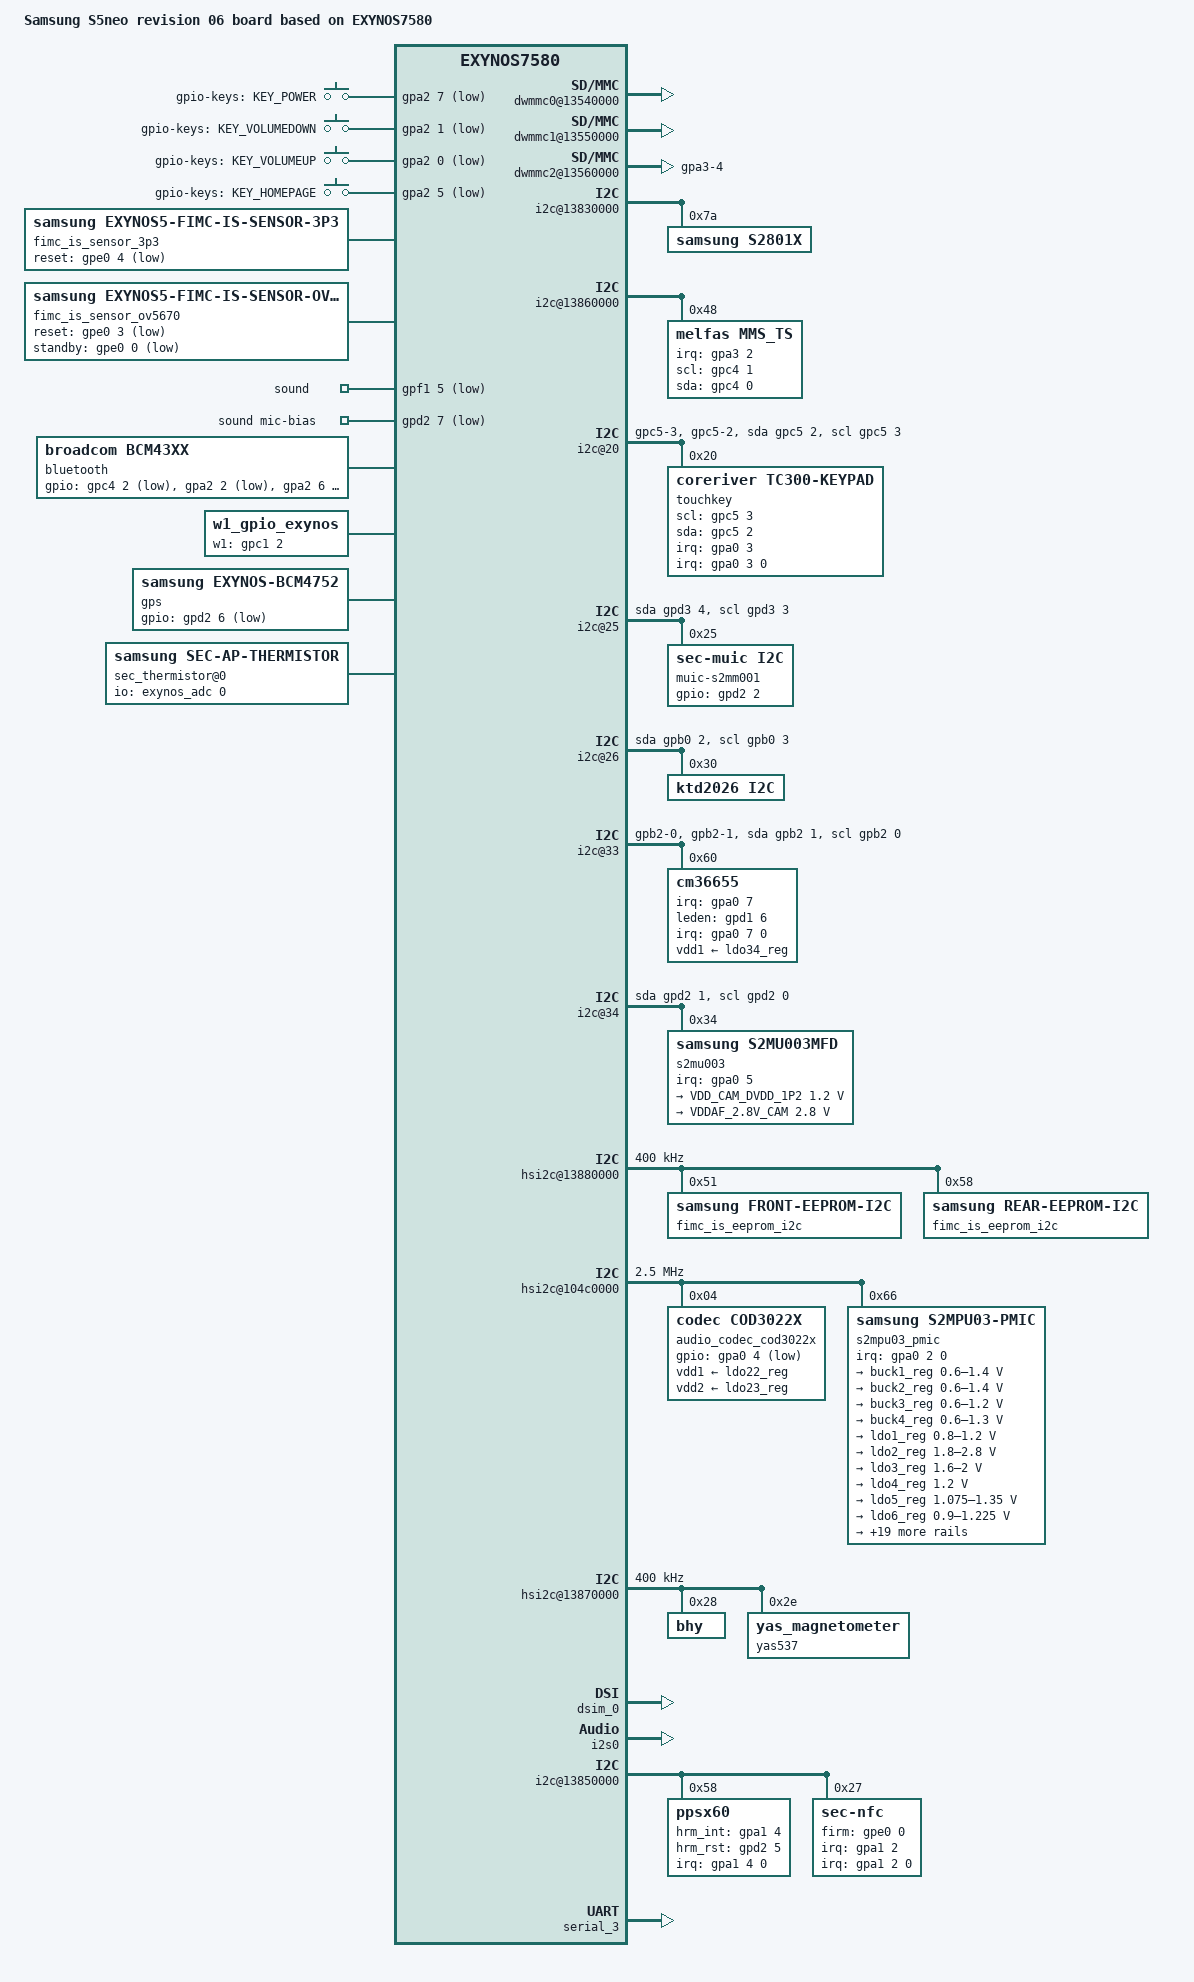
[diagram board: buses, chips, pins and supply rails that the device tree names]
/*
 * SAMSUNG S5neo board device tree source
 *
 * Copyright (c) 2014 Samsung Electronics Co., Ltd.
 *		http://www.samsung.com
 *
 * This program is free software; you can redistribute it and/or modify
 * it under the terms of the GNU General Public License version 2 as
 * published by the Free Software Foundation.
 */

/dts-v1/;
#include "exynos7580-reserve-2000MB.dtsi"
#include "exynos7580.dtsi"
#include "modem-carmen2-pdata.dtsi"
#include "exynos7580-carmen2_battery_rev01.dtsi"
#include "exynos7580-carmen2_gpio_04.dtsi"

/ {
	model = "Samsung S5neo revision 06 board based on EXYNOS7580";
	model_info-chip = <7580>;
	model_info-platform = "android";
	model_info-subtype = "samsung";
	model_info-hw_rev = <6>;
	model_info-hw_rev_end = <6>;
	compatible = "samsung,exynos7580-universal7580,r01", "samsung,exynos7580";

	chosen {
		bootargs = "console=ttySAC1,115200n8 ess_setup=0x46000000 pmic_info=0x02";
		linux,initrd-start = <0x42000000>;
		linux,initrd-end = <0x421FFFFF>;
	};

	fixed-rate-clocks {
		oscclk {
			compatible = "samsung,exynos7580-oscclk";
			clock-frequency = <26000000>;
		};
	};

	dwmmc0@13540000 {
		status = "okay";
		num-slots = <1>;
		broken-cd;
		use-smu;
		fixed_volt;
		clock-gate;
		enable-cclk-on-suspend;
		only_once_tune;
		use-fine-tuning;
		ignore-phase = <(1 << 7)>;
		bypass-for-allpass;
		supports-highspeed;
		supports-hs200-mode;
		supports-ddr200-enhanced-strobe;
		supports-poweroff-notification;
		supports-ddr200-mode;
		enable-cache-control;
		use-enable-shift;
		enable-ulp-mode;
		desc-size = <4>;
		qos_int_level = <200000>;
		fifo-depth = <0x40>;
		card-detect-delay = <0>;
		data-timeout = <200>;
		samsung,dw-mshc-ciu-div = <3>;
		samsung,dw-mshc-sdr-timing = <3 0 2 0>;
		samsung,dw-mshc-ddr-timing = <3 0 2 2>;
		samsung,dw-mshc-hs200-timing = <3 0 3 0>;
		samsung,dw-mshc-ddr200-timing = <1 0 2 0>;
		samsung,dw-mshc-ddr200-ulp-timing = <3 0 3 0>;
		samsung,dw-mshc-ddr200-delay-line = <0x28>;
		samsung,dw-mshc-ddr200-tx-delay-line = <0x28>;
		samsung,dw-mshc-txdt-crc-timer-fastlimit = <0x34>;
		samsung,dw-mshc-txdt-crc-timer-initval = <0x38>;
		clk_pin = "gpr0-0";
		clk_addr = "13750000.pinctrl";
		clk_val = <0x2>;
		clk_str_num = <4>;
		num-ref-clks = <10>;
		ciu_clkin = <25 50 50 100 200 100 200 400 400 200>;
		pinctrl-names = "default";
		pinctrl-0 = <&sd0_clk &sd0_cmd &sd0_rdqs &sd0_bus1 &sd0_bus4 &sd0_bus8>;
		slot@0 {
			reg = <0>;
			bus-width = <8>;
		};
	};

	dwmmc1@13550000 {
		status = "okay";
		num-slots = <1>;
		channel = <1>;
		fixed_volt;
		clock-gate;
		enable-cclk-on-suspend;
		/* broken-cd; */
		caps-control;
		supports-highspeed;
		supports-sdr104-mode;
		keep-power-in-suspend;
		pm-ignore-notify;
		cd-type-external;
		use-broken-voltage;
		use-fine-tuning;
		ignore-phase = <(1 << 7)>;
		fifo-depth = <0x40>;
		card-detect-delay = <200>;
		qos_int_level = <468000>;
		samsung,dw-mshc-ciu-div = <3>;
		samsung,dw-mshc-sdr-timing = <3 0 2 1>;
		samsung,dw-mshc-ddr-timing = <3 0 2 1>;
		clk_pin = "gpr2-0";
		clk_addr = "13750000.pinctrl";
		clk_val = <0x2>;
		clk_str_num = <4>;
		num-ref-clks = <8>;
		ciu_clkin = <25 50 50 100 200 100 200 400>;
		pinctrl-names = "default";
		pinctrl-0 = <&sd1_clk &sd1_cmd &sd1_bus1 &sd1_bus4>;
		slot@0 {
			reg = <0>;
			bus-width = <4>;
		};
	};

	dwmmc2@13560000 {
		status = "okay";
		num-slots = <1>;
		supports-highspeed;
		enable-cclk-on-suspend;
		supports-sdr104-mode;
		bypass-smu;
		use-fine-tuning;
		clock-gate;
		fifo-depth = <0x40>;
		card-detect-delay = <200>;
		data-timeout = <200>;
		ignore-phase = <(1 << 7)>;
		bypass-for-allpass;
		desc-size = <4>;
		samsung,dw-mshc-ciu-div = <3>;
		samsung,dw-mshc-sdr-timing = <3 0 2 0>;
		samsung,dw-mshc-ddr-timing = <3 0 2 1>;
		clk_pin = "gpr4-0";
		clk_addr = "13750000.pinctrl";
		clk_val = <0x2>;
		clk_str_num = <4>;
		num-ref-clks = <8>;
		ciu_clkin = <25 50 50 100 200 100 200 400>;
		pinctrl-names = "default", "output";
		pinctrl-0 = <&sd2_clk &sd2_cmd &sd2_bus1 &sd2_bus4 &dwmmc2_cd_ext_irq>;
		pinctrl-1 = <&sd2_clk_output &sd2_cmd_output &sd2_bus1 &sd2_bus4 &dwmmc2_cd_ext_irq>;
		cd-type-gpio;
		gpio-controller;
		sec-sd-slot-type = <1>; /* Normal SD slot */
		#gpio-cells = <2>;
		cd-gpio = <&gpa3 4 0xf>;
		slot@0 {
			reg = <0>;
			bus-width = <4>;
			disable-wp;
		};
	};

	gpio_keys{
		compatible = "gpio-keys";
		pinctrl-names = "default";
		pinctrl-0 = <&gpa2_pull_up_univ>;

		button@1 {
			label = "gpio-keys: KEY_POWER";
			interrupt-parent = <&gpa2>;
			linux,code = <116>;
			gpios = <&gpa2 7 0xf>;
			gpio-key,wakeup = <1>;
		};
		button@2 {
			label = "gpio-keys: KEY_VOLUMEDOWN";
			interrupt-parent = <&gpa2>;
			linux,code = <114>;
			gpios = <&gpa2 1 0xf>;
		};
		button@3 {
			label = "gpio-keys: KEY_VOLUMEUP";
			interrupt-parent = <&gpa2>;
			linux,code = <115>;
			gpios = <&gpa2 0 0xf>;
		};
		button@4 {
			label = "gpio-keys: KEY_HOMEPAGE";
			interrupt-parent = <&gpa2>;
			linux,code = <172>;
			gpios = <&gpa2 5 0xf>;
			gpio-key,wakeup = <1>;
		};
	};

	pinctrl@139B0000 {
		pmic_irq: pmic-irq {
			samsung,pins = "gpa0-2";
			samsung,pin-pud = <3>;
			samsung,pin-drv = <3>;
		};
		cfg_irq: cfg-irq {
			samsung,pins = "gpa0-3";
			samsung,pin-function = <0xf>;
			samsung,pin-pud = <0>;
			samsung,pin-drv = <0>;
		};
		cfg_input: cfg-input {
			samsung,pins = "gpa0-3";
			samsung,pin-function = <0>;
			samsung,pin-pud = <1>;
			samsung,pin-drv = <0>;
		};
		cod3022_irq: cod3022-irq {
			samsung,pins = "gpa0-4";
			samsung,pin-pud = <3>;
			samsung,pin-drv = <3>;
		};
		if_irq: if-irq {
			samsung,pins = "gpa0-5";
			samsung,pin-pud = <3>;
			samsung,pin-drv = <3>;
		};
		muic_irq: muic-irq {
			samsung,pins = "gpa1-3";
			samsung,pin-pud = <0>;
			samsung,pin-drv = <0>;
		};
		bhy_int: bhy-int {
			samsung,pins = "gpa3-0";
			samsung,pin-function = <0>;
			samsung,pin-pud = <0>;
			samsung,pin-drv = <0>;
		};
		attn_input: attn-input {
			samsung,pins = "gpa3-2";
			samsung,pin-function = <0>;
			samsung,pin-pud = <0>;
			samsung,pin-drv = <0>;
		};
		attn_irq: attn-irq {
			samsung,pins = "gpa3-2";
			samsung,pin-function = <0xf>;
			samsung,pin-pud = <0>;
			samsung,pin-drv = <0>;
		};
		nfc_clk_int: clk-int {
			samsung,pins = "gpa3-3";
                        samsung,pin-function = <0xf>;
                        samsung,pin-pud = <3>;
		};
		dwmmc2_cd_ext_irq: dwmmc2_cd_ext_irq {
			samsung,pins = "gpa3-4";
			samsung,pin-function = <0xf>;
			samsung,pin-pud = <0>;
			samsung,pin-drv = <0>;
		};
		hall_irq: hall_irq {
			samsung,pins = "gpa3-6";
			samsung,pin-function = <0xf>;
			samsung,pin-pud = <0>;
			samsung,pin-drv = <0>;
		};
		ssp_ap_int: ssp-ap-int {
			samsung,pins = "gpa1-0";
			samsung,pin-function = <1>;
			samsung,pin-pud = <3>;
			samsung,pin-drv = <3>;
		};
		ssp_mcu_int1: ssp-mcu-int1 {
			samsung,pins = "gpa1-5";
			samsung,pin-function = <0>;
			samsung,pin-pud = <0>;
			samsung,pin-drv = <0>;
		};
		ssp_mcu_int2: ssp-mcu-int2 {
			samsung,pins = "gpa1-6";
			samsung,pin-function = <0>;
			samsung,pin-pud = <0>;
			samsung,pin-drv = <0>;
		};
	};

	pinctrl@139C0000 {
		hrm_vdd_en: hrm_vdd_en {
			samsung,pins = "gpb2-7";
			samsung,pin-function = <1>;
			samsung,pin-pud = <1>;
			samsung,pin-val = <0>;
		};
		vibetonz_pwm: vibetonz_pwm {
			samsung,pins = "gpc1-1";
			samsung,pin-function = <2>;
			samsung,pin-pud = <0>;
			samsung,pin-drv = <0>;
		};
		w1_gpio: w1-gpio {
			samsung,pins = "gpc1-2";
			samsung,pin-function = <0>;
			samsung,pin-pud = <0>;
			samsung,pin-drv = <0>;
		};
		cfg_i2c: cfg-i2c {
			samsung,pins = "gpc5-3", "gpc5-2";
			samsung,pin-function = <0>;
			samsung,pin-pud = <3>;
			samsung,pin-drv = <0>;
		};
		cfg_gpio: cfg-gpio {
			samsung,pins = "gpc5-3", "gpc5-2";
			samsung,pin-function = <0>;
			samsung,pin-pud = <0>;
			samsung,pin-drv = <0>;
		};
		main_mic_bias_en:main-mic-bias-en {
			samsung,pins ="gpd2-7";
			samsung,pin-function = <1>;
			samsung,pin-pud = <0>;
			samsung,pin-con-pdn = <3>;
			samsung,pin-pud-pdn = <0>;
			samsung,pin-val = <0>;
		};
		/* Warm reset information from AP */
		pm_wrsti: pm-wrsti {
			samsung,pins = "gpe1-0";
			samsung,pin-con-pdn = <3>;
		};
		dbmd_reset: dbmd-reset {
			samsung,pins ="gpf1-6";
			samsung,pin-function = <1>;
			samsung,pin-pud = <1>;
			samsung,pin-con-pdn =<3>;
			samsung,pin-pud-pdn = <1>;
			samsung,pin-val = <0>;
		};
		dbmd_wakeup: dbmd-wakeup {
			samsung,pins ="gpf1-7";
			samsung,pin-function = <1>;
			samsung,pin-pud = <1>;
			samsung,pin-con-pdn =<3>;
			samsung,pin-pud-pdn = <1>;
			samsung,pin-val = <0>;
		};
		ssp_rst: ssp-rst {
			samsung,pins = "gpf1-4";
			samsung,pin-function = <1>;
			samsung,pin-pud = <3>;
			samsung,pin-drv = <3>;
		};
	};

	i2c@13830000 {
		samsung,i2c-sda-delay = <100>;
		samsung,i2c-max-bus-freq = <400000>;
		status = "okay";
		#address-cells = <1>;
		#size-cells = <0>;
		supports-bus-clear;

		s2801x: s2801x@7a {
			compatible = "samsung,s2801x";
			reg = <0x7a>;
			clocks = <&clock 154>,	/* sclk_audmixer */
				 <&clock 155>,	/* sclk_audmixer_bclk0*/
				 <&clock 156>,	/* sclk_audmixer_bclk1 */
				 <&clock 157>,	/* sclk_audmixer_bclk2 */
				 <&clock 152>,	/* bclk_mi2s */
				 <&clock 149>;	/* dout_audmixer*/

			clock-names = "audmixer_sysclk", "audmixer_bclk0",
					"audmixer_bclk1", "audmixer_bclk2",
					"mi2s_bclk", "audmixer_dout";
			sysreg-reset = <0x110F2000>;
			sysreg-i2c = <0x110F3000>;
			pinctrl-names = "default", "idle", "bt-idle";
			pinctrl-0 = <&i2s_pmic_bus
					&i2s2_codec_clk
					&pcm_bt_bus
					&pcm_bt1_bus>;
			pinctrl-1 = <&i2s_pmic_bus_idle
					&i2s2_codec_clk_idle
					&pcm_bt_bus_idle
					&pcm_bt1_bus_idle>;
			pinctrl-2 = <&i2s_pmic_bus
					&i2s2_codec_clk
					&pcm_bt_bus_idle
					&pcm_bt1_bus_idle>;
			samsung,lpass-subip;
		};
	};

	i2c@13860000 {
		samsung,i2c-sda-delay = <100>;
		samsung,i2c-max-bus-freq = <400000>;
		status = "okay";
		#address-cells = <1>;
		#size-cells = <0>;

		mms_ts@48 {
			compatible = "melfas,mms_ts";
			reg = <0x48>;
			pinctrl-names = "on_state", "off_state";
			pinctrl-0 = <&attn_irq>;
			pinctrl-1 = <&attn_input>;
			melfas,vdd_en = "tsp_avdd";
			melfas,irq-gpio = <&gpa3 2 0>;
			melfas,scl-gpio = <&gpc4 1 0>;
			melfas,sda-gpio = <&gpc4 0 0>;
			melfas,max_x = <1080>;
			melfas,max_y = <1920>;
			melfas,fw_name = "tsp_melfas/mms449_s5neo.fw";
		};
	};

	pinctrl@139B0000{
		ps_als: ps_als {
			samsung,pins = "gpa0-7";
			samsung,pin-function = <0x0>;
			samsung,pin-pud = <0>;
			samsung,pin-drv = <0>;
		};
	};

	pinctrl@139C0000{
		optical: optical {
			samsung,pins = "gpb2-0", "gpb2-1";
			samsung,pin-function = <0>;
			samsung,pin-pud = <0>;
			samsung,pin-drv = <0>;
		};
	};

	i2c@20 {
		compatible = "i2c-gpio";
		gpios = <&gpc5 2 0
				&gpc5 3 0>;
		i2c-gpio,delay-us = <5>;
		pinctrl-names = "default","on_i2c","off_i2c";
		pinctrl-0 = <&cfg_i2c>;
		pinctrl-1 = <&cfg_i2c>;
		pinctrl-2 = <&cfg_gpio>;
		#address-cells = <1>;
		#size-cells = <0>;
		status = "okay";

		touchkey@20 {
			pinctrl-names = "on_irq","off_irq";
			pinctrl-0 = <&cfg_irq>;
			pinctrl-1 = <&cfg_input>;
			compatible = "coreriver,tc300-keypad";
			reg = <0x20>;
			interrupts = <3 0 0>;
			interrupt-parent = <&gpa0>;
			coreriver,scl-gpio = <&gpc5 3 0>;
			coreriver,sda-gpio = <&gpc5 2 0>;
			coreriver,irq-gpio = <&gpa0 3 0>;
			coreriver,i2c-gpio = "true";
			coreriver,boot-on-ldo = "true";
			coreriver,regulator_ic = "vtouch_1.8v";
			coreriver,regulator_led = "vtouch_3.3v";
			coreriver,fw_name = "coreriver/tc350k_s5neo.fw";
			coreriver,sensing_ch_num = <0x4>;
			coreriver,tsk_ic_num = <0x1>; /* tc300k : 0x00, tc350k : 0x01 */
			coreriver,use_bitmap = <1>;
		};
	};

	i2c@25 {
		compatible = "i2c-gpio";
		gpios = <&gpd3 4 0
			&gpd3 3 0>;
		i2c-gpio,delay-us = <5>;
		#address-cells = <1>;
		#size-cells = <0>;
		status = "okay";

		muic-s2mm001@25 {
			compatible = "sec-muic,i2c";
			reg = <0x25>;
			pinctrl-names = "default";
			pinctrl-0 = <&muic_irq>;
			muic,muic_int = <&gpa1 3 0>;
			gpios = <&gpd2 2 0>;
			muic,undefined_range;
		};
	};

	i2c@26 {
		compatible = "i2c-gpio";
		gpios = <&gpb0 2 0
			&gpb0 3 0>;
		i2c-gpio,delay-us = <5>;
		#address-cells = <1>;
		#size-cells = <0>;
		status = "okay";

		ktd2026@26 {
			compatible = "ktd2026,i2c";
			reg = <0x30>;
			pinctrl-names = "default";

			led_conf@1 {
				led_conf-name = "led_r";
				brightness = <0>;
				max_brightness = /bits/ 8 <0x20>;
				flags = <0>;
			};
			led_conf@2 {
				led_conf-name = "led_g";
				brightness = <0>;
				max_brightness = /bits/ 8 <0x20>;
				flags = <0>;
			};
			led_conf@3 {
				led_conf-name = "led_b";
				brightness = <0>;
				max_brightness = /bits/ 8 <0x20>;
				flags = <0>;
			};
		};
	};

	i2c@33 {
		compatible = "i2c-gpio";
		gpios = <&gpb2 1 0	/* scl */
			&gpb2 0 0>;	/* sda */

		pinctrl-names = "default";
		pinctrl-0 = <&optical>;
		samsung,i2c-sda-delay = <100>;
		samsung,i2c-max-bus-freq = <400000>;
		#address-cells = <1>;
		#size-cells = <0>;
		status = "okay";

		cm36655@60 {
			compatible = "cm36655";
			reg = <0x60>;
			pinctrl-names = "dafault";
			pinctrl-0 = <&ps_als &leden_gpio>;
			vdd1-supply = <&ldo34_reg>;
			interrupt-parent = <&gpa0>;
			interrupts = <7 0 0>;
			cm36655,irq_gpio = <&gpa0 7 0x00>;
			cm36655,leden_gpio =  <&gpd1 6 0>;
			cm36655,default_hi_thd = <17>;
			cm36655,default_low_thd = <13>;
			cm36655,cancel_hi_thd = <10>;
			cm36655,cancel_low_thd = <7>;
			cm36655,cal_skip_adc=<8>;
			cm36655,cal_fail_adc=<18>;
			cm36655,als_reg_set=<0x0000>;
			cm36655,ps_conf1=<0x7308>;
			cm36655,default_trim = <0x0003>;
		};
	};

	i2c@34 {
		compatible = "i2c-gpio";
		gpios = <&gpd2 1 0
			&gpd2 0 0>;
		i2c-gpio,delay-us = <5>;
		#address-cells = <1>;
		#size-cells = <0>;
		status = "okay";

		s2mu003@34 {
			compatible = "samsung,s2mu003mfd";
			reg = <0x34>;
			pinctrl-names = "default";
			pinctrl-0 = <&if_irq>;
			s2mu003,irq-gpio = <&gpa0 5 0>;

			regulators {
				s2mu003-buck1 {
					regulator-name = "VDD_CAM_DVDD_1P2";
					regulator-min-microvolt = <1200000>;
					regulator-max-microvolt = <1200000>;
				};
				s2mu003-ldo1 {
					regulator-name = "VDDAF_2.8V_CAM";
					regulator-min-microvolt = <2800000>;
					regulator-max-microvolt = <2800000>;
				};
			};

			leds {
				torch-gpio = <&gpe0 1 0>;
				flash-gpio = <&gpe0 2 0>;

				status = "okay";
				s2mu003-leds1 {
					ledname = "leds-sec1";
					id = <0>;
					brightness = <0x17>;
					timeout = <0x0>;
					max-brightness = <0x15>;
				};

				s2mu003-leds2 {
					ledname = "leds-sec2";
					id = <1>;
					brightness = <0x02>;
					timeout = <0x0>;
					max-brightness = <0xf>;
				};
			};
		};
	};
	hsi2c@13880000 {
		status = "okay";
		clock-frequency = <400000>;
		fimc_is_eeprom_i2c@51{
			compatible = "samsung,front-eeprom-i2c";
			reg = <0x51>;
			use_i2c_pinctrl;
			fimc_is_front_eeprom_pinname = "139C0000.pinctrl";
			fimc_is_front_eeprom_sda = "gpc2-2";
			fimc_is_front_eeprom_scl = "gpc2-3";
			pinfunc_on = <4>;
			pinfunc_off = <0>;
		};
		fimc_is_eeprom_i2c@58 {
			compatible = "samsung,rear-eeprom-i2c";
			reg = <0x58>;
			use_i2c_pinctrl;
			fimc_is_rear_eeprom_pinname = "139C0000.pinctrl";
			fimc_is_rear_eeprom_sda = "gpc2-2";
			fimc_is_rear_eeprom_scl = "gpc2-3";
			pinfunc_on = <4>;
			pinfunc_off = <0>;
		};
	};

	hsi2c@104c0000 {
		status = "okay";
		samsung,hs-mode;
		clock-frequency = <2500000>;
		samsung,hsi2c-batcher;
		#address-cells = <1>;
		#size-cells = <0>;

		audio_codec_cod3022x: cod3022x@04 {
			compatible = "codec,cod3022x";
			reg = <0x04>;
			ten-bit-address;
			vdd1-supply = <&ldo22_reg>;
			vdd2-supply = <&ldo23_reg>;
			pinctrl-names = "default";
			pinctrl-0 = <&cod3022_irq>;
			interrupt-parent = <&gpa0>;
			gpios = <&gpa0 4 0xf>;
			/* Mic Bias: 0->2.1v, 1->2.5v, 2->2.6v, 3->3.0v */
			mic-bias1-voltage = <3>;
			mic-bias2-voltage = <3>;
		};

		s2mpu03_pmic@66 {
			compatible = "samsung,s2mpu03-pmic";
			reg = <0x66>;
			ten-bit-address;
			interrupts = <2 0 0>;
			interrupt-parent = <&gpa0>;
			pinctrl-names = "default";
			pinctrl-0 = <&pmic_irq &pm_wrsti>;
			g3d_en = <1>; /* 1 : enable , 0 : disable */
			/*
			buck4en_pin = "etc1-3";
			buck4en_addr = "1111111.pinctrl";
			*/
			/* RTC: wtsr/smpl */
			wtsr_en = <1>; /* enable */
			smpl_en = <1>; /* enable */
			wtsr_timer_val = <3>;   /* 1000ms */
			smpl_timer_val = <4>;   /* 500ms */
			check_jigon = <0>; /* do not check jigon */
			/* RTC: If it's first boot, reset rtc to 1/1/2015 12:00:00(Thu) */
			init_time,sec = <0>;
			init_time,min = <0>;
			init_time,hour = <12>;
			init_time,mday = <1>;
			init_time,mon = <0>;
			init_time,year = <115>;
			init_time,wday = <4>;

			regulators {
				buck1_reg: BUCK1 {
					regulator-name = "cpu-cluster.1";
					regulator-min-microvolt = <600000>;
					regulator-max-microvolt = <1400000>;
					regulator-always-on;
					regulator-boot-on;
					regulator-ramp-delay = <12000>;
					regulator-initial-mode = <1>;
				};

				buck2_reg: BUCK2 {
					regulator-name = "cpu-cluster.0";
					regulator-min-microvolt = <600000>;
					regulator-max-microvolt = <1400000>;
					regulator-always-on;
					regulator-boot-on;
					regulator-ramp-delay = <12000>;
					regulator-initial-mode = <1>;
				};

				buck3_reg: BUCK3 {
					regulator-name = "vdd_intmif";
					regulator-min-microvolt = <600000>;
					regulator-max-microvolt = <1200000>;
					regulator-always-on;
					regulator-boot-on;
					regulator-ramp-delay = <12000>;
					regulator-initial-mode = <1>;
				};

				buck4_reg: BUCK4 {
					regulator-name = "vdd_g3d";
					regulator-min-microvolt = <600000>;
					regulator-max-microvolt = <1300000>;
					regulator-always-on;
					regulator-boot-on;
					regulator-ramp-delay = <12000>;
					regulator-initial-mode = <1>;
				};

				ldo1_reg: LDO1 {
					regulator-name = "vdd_ldo1";
					regulator-min-microvolt = <800000>;
					regulator-max-microvolt = <1200000>;
					regulator-always-on;
					regulator-ramp-delay = <12000>;
					regulator-initial-mode = <3>;
				};

				ldo2_reg: LDO2 {
					regulator-name = "vqmmc";
					regulator-min-microvolt = <1800000>;
					regulator-max-microvolt = <2800000>;
					regulator-boot-on;
					regulator-ramp-delay = <12000>;
					regulator-initial-mode = <1>;
				};

				ldo3_reg: LDO3 {
					regulator-name = "vdd_ldo3";
					regulator-min-microvolt = <1600000>;
					regulator-max-microvolt = <2000000>;
					regulator-boot-on;
					regulator-always-on;
					regulator-ramp-delay = <12000>;
					regulator-initial-mode = <3>;
				};

				ldo4_reg: LDO4 {
					regulator-name = "vdd_ldo4";
					regulator-min-microvolt = <1200000>;
					regulator-max-microvolt = <1200000>;
					regulator-boot-on;
					regulator-always-on;
					regulator-ramp-delay = <12000>;
					regulator-initial-mode = <1>;
				};

				ldo5_reg: LDO5 {
					regulator-name = "vdd_ldo5";
					regulator-min-microvolt = <1075000>;
					regulator-max-microvolt = <1350000>;
					regulator-boot-on;
					regulator-always-on;
					regulator-ramp-delay = <12000>;
					regulator-initial-mode = <3>;
				};

				ldo6_reg: LDO6 {
					regulator-name = "vdd_ldo6";
					regulator-min-microvolt = <900000>;
					regulator-max-microvolt = <1225000>;
					regulator-boot-on;
					regulator-always-on;
					regulator-ramp-delay = <12000>;
					regulator-initial-mode = <1>;
				};

				ldo7_reg: LDO7 {
					regulator-name = "vdd_ldo7";
					regulator-min-microvolt = <1600000>;
					regulator-max-microvolt = <2000000>;
					regulator-boot-on;
					regulator-always-on;
					regulator-initial-mode = <1>;
				};

				ldo8_reg: LDO8 {
					regulator-name = "vdd_ldo8";
					regulator-min-microvolt = <3300000>;
					regulator-max-microvolt = <3300000>;
					regulator-boot-on;
					regulator-always-on;
					regulator-initial-mode = <1>;
				};

				ldo10_reg: LDO10 {
					regulator-name = "vdd_ldo10";
					regulator-min-microvolt = <800000>;
					regulator-max-microvolt = <1350000>;
					regulator-always-on;
					regulator-initial-mode = <1>;
				};

				ldo22_reg: LDO22 {
					regulator-name = "codec_ldo22";
					regulator-min-microvolt = <1000000>;
					regulator-max-microvolt = <2375000>;
					regulator-initial-mode = <3>;
				};

				ldo23_reg: LDO23 {
					regulator-name = "codec_ldo23";
					regulator-min-microvolt = <1000000>;
					regulator-max-microvolt = <2375000>;
					regulator-initial-mode = <3>;
				};

				ldo26_reg: LDO26 {
					regulator-name = "vmmc";
					regulator-min-microvolt = <2800000>;
					regulator-max-microvolt = <2800000>;
					regulator-boot-on;
					regulator-initial-mode = <1>;
				};

				ldo27_reg: LDO27 {
					regulator-name = "VDDIO_1.8V_CAM";
					regulator-min-microvolt = <1800000>;
					regulator-max-microvolt = <1800000>;
					regulator-initial-mode = <1>;
				};

				ldo28_reg: LDO28 {
					regulator-name = "vtouch_1.8v";
					regulator-min-microvolt = <1800000>;
					regulator-max-microvolt = <1800000>;
					regulator-boot-on;
				};

				ldo29_reg: LDO29 {
					regulator-name = "VDD_VTCAM_SENSOR_A2P8";
					regulator-min-microvolt = <2800000>;
					regulator-max-microvolt = <2800000>;
					regulator-initial-mode = <1>;
				};

				ldo30_reg: LDO30 {
					regulator-name = "LCD_3P0";
					regulator-min-microvolt = <3000000>;
					regulator-max-microvolt = <3000000>;
					regulator-boot-on;
					regulator-initial-mode = <3>;
				};

				ldo31_reg: LDO31 {
					regulator-name = "LCD_1P8";
					regulator-min-microvolt = <1800000>;
					regulator-max-microvolt = <1800000>;
					regulator-boot-on;
					regulator-initial-mode = <3>;
				};

				ldo32_reg: LDO32 {
					regulator-name = "VDDIO_1.8V_VT";
					regulator-min-microvolt = <1800000>;
					regulator-max-microvolt = <1800000>;
					regulator-initial-mode = <1>;
				};

				ldo33_reg: LDO33 {
					regulator-name = "tsp_avdd";
					regulator-min-microvolt = <3300000>;
					regulator-max-microvolt = <3300000>;
				};

				ldo34_reg: LDO34 {
					regulator-name = "VDD_SENSOR_2P85";
					regulator-min-microvolt = <2850000>;
					regulator-max-microvolt = <2850000>;
					regulator-always-on;
					/* regulator-initial-mode = <1>; */
				};

				ldo35_reg: LDO35 {
					regulator-name = "VDD_CAM_SENSOR_A2P95";
					regulator-min-microvolt = <2950000>;
					regulator-max-microvolt = <2950000>;
					regulator-initial-mode = <1>;
				};

				ldo36_reg: LDO36 {
					regulator-name = "VDD_VTCAM_1P2";
					regulator-min-microvolt = <1200000>;
					regulator-max-microvolt = <1200000>;
					regulator-initial-mode = <1>;
				};

				ldo37_reg: LDO37 {
					regulator-name = "vtouch_3.3v";
					regulator-min-microvolt = <3300000>;
					regulator-max-microvolt = <3300000>;
					regulator-boot-on;
				};

				ldo38_reg: LDO38 {
					regulator-name = "ldo38";
					regulator-min-microvolt = <2800000>;
					regulator-max-microvolt = <2800000>;
					regulator-always-on;
					regulator-initial-mode = <1>;
				};

				ldo39_reg: LDO39 {
					regulator-name = "ldo39";
					regulator-min-microvolt = <1800000>;
					regulator-max-microvolt = <1800000>;
					regulator-initial-mode = <3>;
				};
			};
		};
	};

	fimc_is_sensor_3p3: fimc-is_sensor_3p3@0 {
		compatible = "samsung,exynos5-fimc-is-sensor-3p3";

		pinctrl-names = "pin0", "pin1";
		pinctrl-0 = <&fimc_is_mclk0_fn &fimc_is_i2c0 &fimc_is_flash>; /* rear on */
		pinctrl-1 = <&fimc_is_mclk0_in &fimc_is_i2c0 &fimc_is_flash>; /* rear off */

		position = <0>; /* Rear:0. Front:1 */
		id = <0>; /* bns_id */
		mclk_ch = <0>;
		sensor_i2c_ch = <0>; /* I2C 0 */
		sensor_i2c_addr = <0x0>;

		gpio_reset = <&gpe0 4 0x1>; /* sensor reset */
		status = "okay";

		af {
			product_name = <13>; /* DW9807 */
			i2c_addr = <0x18>;
			i2c_ch = <0>; /* I2C 0 */
		};

		flash {
			product_name = <11>; /* GPIO */
			flash_first_gpio = <2>;
			flash_second_gpio = <1>;
		};
	};

	fimc_is_sensor_ov5670: fimc-is_sensor_ov5670@0 {
		compatible = "samsung,exynos5-fimc-is-sensor-ov5670";

		pinctrl-names = "pin0", "pin1";
		pinctrl-0 = <&fimc_is_mclk1_fn &fimc_is_i2c1>; /* front on */
		pinctrl-1 = <&fimc_is_mclk1_in &fimc_is_i2c1>; /* front off */

		position = <1>; /* Rear:0. Front:1 */
		id = <1>; /* bns_id */
		mclk_ch = <1>;
		sensor_i2c_ch = <1>;
		sensor_i2c_addr = <0x0>;

		gpio_reset = <&gpe0 3 0x1>;
		gpio_standby = <&gpe0 0 0x1>;
		status = "okay";
	};


	fimc_is_sensor0: fimc_is_sensor@144a0000 {
		scenario = <0>;
		id = <0>;
		mclk_ch = <0>;
		csi_ch = <0>;
		flite_ch = <0>;
		i2c_ch = <0>;
		i2c_addr = <0x0>;
		is_bns = <1>;
		status = "okay";
	};

	fimc_is_sensor1: fimc_is_sensor@144b0000 {
		scenario = <0>;
		id = <1>;
		mclk_ch = <1>;
		csi_ch = <1>;
		flite_ch = <1>;
		i2c_ch = <1>;
		i2c_addr = <0x0>;
		is_bns = <0>;
		status = "okay";
	};

	fimc_is@14400000 {
		rear_sensor_id = <23>; /* SENSOR_NAME_S5K3P3 */
		front_sensor_id = <204>; /* SENSOR_NAME_OV5670 */
		use_module_check;

		total_camera_num = <2>;
		camera_info0 {				// 0 : rear
			isp = <0>;				/* 0 : INT , 1 : EXT , 2 : SOC */
			cal_memory = <2>;		/* 0 : N , 1 : FROM , 2 : EEPROM , 3 : OTP  */
			read_version = <0>;		/* 0 : SYSFS , 1 : CAMON */
			core_voltage = <0>;		/* 0 : N , 1 : Y  */
			upgrade = <0>;			/* 0 : N , 1 : SYSFS , 2 : CAMON */
			companion = <0>;	/* 0 : N , 1 : Y  */
			ois = <0>;				/* 0 : N , 1 : Y  */
		};
		camera_info1 {				// 1 : front
			isp = <0>;				/* 0 : INT , 1 : EXT , 2 : SOC */
			cal_memory = <2>;		/* 0 : N , 1 : FROM , 2 : EEPROM , 3 : OTP  */
			read_version = <0>;		/* 0 : SYSFS , 1 : CAMON */
			core_voltage = <0>;		/* 0 : N , 1 : Y  */
			upgrade = <0>;			/* 0 : N , 1 : SYSFS , 2 : CAMON */
			companion = <0>;	/* 0 : N , 1 : Y  */
			ois = <0>;				/* 0 : N , 1 : Y  */
		};

		#define DVFS_INT_L0 400000
		#define DVFS_INT_L1 334000
		#define DVFS_INT_L2 267000
		#define DVFS_INT_L3 200000
		#define DVFS_INT_L4 160000
		#define DVFS_INT_L5 134000
		#define DVFS_INT_L6 111000
		#define DVFS_INT_L7 100000

		#define DVFS_CAM_L0 530000
		#define DVFS_CAM_L1 430000
		#define DVFS_CAM_L2 400000
		#define DVFS_CAM_L3 334000
		#define DVFS_CAM_L4 267000
		#define DVFS_CAM_L5 200000

		#define DVFS_MIF_L0 825000
		#define DVFS_MIF_L1 728000
		#define DVFS_MIF_L2 667000
		#define DVFS_MIF_L3 559000
		#define DVFS_MIF_L4 416000
		#define DVFS_MIF_L5 338000
		#define DVFS_MIF_L6 273000
		#define DVFS_MIF_L7 200000

		fimc_is_dvfs {
			default_int = <DVFS_INT_L0>;
			default_cam = <DVFS_CAM_L0>;
			default_mif = <DVFS_MIF_L0>;
			default_i2c = <0>;

			front_preview_int = <DVFS_INT_L3>;
			front_preview_cam = <DVFS_CAM_L4>;
			front_preview_mif = <DVFS_MIF_L3>;
			front_preview_i2c = <0>;

			front_capture_int = <DVFS_INT_L3>;
			front_capture_cam = <DVFS_CAM_L4>;
			front_capture_mif = <DVFS_MIF_L3>;
			front_capture_i2c = <0>;

			front_video_int = <DVFS_INT_L3>;
			front_video_cam = <DVFS_CAM_L4>;
			front_video_mif = <DVFS_MIF_L3>;
			front_video_i2c = <0>;

			front_video_whd_int = <DVFS_INT_L0>;
			front_video_whd_cam = <DVFS_CAM_L0>;
			front_video_whd_mif = <DVFS_MIF_L0>;
			front_video_whd_i2c = <0>;

			front_video_capture_int = <DVFS_INT_L3>;
			front_video_capture_cam = <DVFS_CAM_L4>;
			front_video_capture_mif = <DVFS_MIF_L3>;
			front_video_capture_i2c = <0>;

			front_video_whd_capture_int = <DVFS_INT_L0>;
			front_video_whd_capture_cam = <DVFS_CAM_L0>;
			front_video_whd_capture_mif = <DVFS_MIF_L0>;
			front_video_whd_capture_i2c = <0>;

			front_vt1_int = <DVFS_INT_L3>;
			front_vt1_cam = <DVFS_CAM_L4>;
			front_vt1_mif = <DVFS_MIF_L3>;
			front_vt1_i2c = <0>;

			front_vt2_int = <DVFS_INT_L3>;
			front_vt2_cam = <DVFS_CAM_L4>;
			front_vt2_mif = <DVFS_MIF_L3>;
			front_vt2_i2c = <0>;

			rear_preview_fhd_int = <DVFS_INT_L3>;
			rear_preview_fhd_cam = <DVFS_CAM_L0>;
			rear_preview_fhd_mif = <DVFS_MIF_L2>;
			rear_preview_fhd_i2c = <0>;

			rear_preview_whd_int = <DVFS_INT_L0>;
			rear_preview_whd_cam = <DVFS_CAM_L0>;
			rear_preview_whd_mif = <DVFS_MIF_L0>;
			rear_preview_whd_i2c = <0>;

			rear_preview_uhd_int = <DVFS_INT_L0>;
			rear_preview_uhd_cam = <DVFS_CAM_L0>;
			rear_preview_uhd_mif = <DVFS_MIF_L0>;
			rear_preview_uhd_i2c = <0>;

			rear_capture_int = <DVFS_INT_L3>;
			rear_capture_cam = <DVFS_CAM_L0>;
			rear_capture_mif = <DVFS_MIF_L2>;
			rear_capture_i2c = <0>;

			rear_video_fhd_int = <DVFS_INT_L3>;
			rear_video_fhd_cam = <DVFS_CAM_L0>;
			rear_video_fhd_mif = <DVFS_MIF_L2>;
			rear_video_fhd_i2c = <0>;

			rear_video_uhd_int = <DVFS_INT_L0>;
			rear_video_uhd_cam = <DVFS_CAM_L0>;
			rear_video_uhd_mif = <DVFS_MIF_L0>;
			rear_video_uhd_i2c = <0>;

			rear_video_fhd_capture_int = <DVFS_INT_L3>;
			rear_video_fhd_capture_cam = <DVFS_CAM_L0>;
			rear_video_fhd_capture_mif = <DVFS_MIF_L2>;
			rear_video_fhd_capture_i2c = <0>;

			rear_video_uhd_capture_int = <DVFS_INT_L0>;
			rear_video_uhd_capture_cam = <DVFS_CAM_L0>;
			rear_video_uhd_capture_mif = <DVFS_MIF_L0>;
			rear_video_uhd_capture_i2c = <0>;

			dual_preview_int = <DVFS_INT_L0>;
			dual_preview_cam = <DVFS_CAM_L0>;
			dual_preview_mif = <DVFS_MIF_L0>;
			dual_preview_i2c = <0>;

			dual_capture_int = <DVFS_INT_L0>;
			dual_capture_cam = <DVFS_CAM_L0>;
			dual_capture_mif = <DVFS_MIF_L0>;
			dual_capture_i2c = <0>;

			dual_video_int = <DVFS_INT_L0>;
			dual_video_cam = <DVFS_CAM_L0>;
			dual_video_mif = <DVFS_MIF_L0>;
			dual_video_i2c = <0>;

			dual_video_capture_int = <DVFS_INT_L0>;
			dual_video_capture_cam = <DVFS_CAM_L0>;
			dual_video_capture_mif = <DVFS_MIF_L0>;
			dual_video_capture_i2c = <0>;

			preview_high_speed_fps_int = <DVFS_INT_L0>;
			preview_high_speed_fps_cam = <DVFS_CAM_L0>;
			preview_high_speed_fps_mif = <DVFS_MIF_L0>;
			preview_high_speed_fps_i2c = <0>;

			video_high_speed_fps_int = <DVFS_INT_L0>;
			video_high_speed_fps_cam = <DVFS_CAM_L0>;
			video_high_speed_fps_mif = <DVFS_MIF_L0>;
			video_high_speed_fps_i2c = <0>;

			max_int = <DVFS_INT_L0>;
			max_cam = <DVFS_CAM_L0>;
			max_mif = <DVFS_MIF_L0>;
			max_i2c = <0>;
		};
	};

	hsi2c@13870000 {
		status = "okay";
		/*samsung,hs-mode;*/
		clock-frequency = <400000>;
		#address-cells = <1>;
		#size-cells = <0>;

		bhy@28 {
			compatible = "bhy";
			pinctrl-names = "default";
			pinctrl-0 = <&bhy_int>;
			bhy,gpio_irq = <&gpa3 0 0x00>;
			reg = <0x28>;
			/* operational-addr = <0x48>; */
		};

		yas537@2e {
			compatible = "yas_magnetometer";
			reg = <0x2e>;
			yas,orientation = <7>;
			yas,softiron = <10000 0 0 0 10000 0 0 0 10000>;
			yas,softiron_sign = <2 2 0 0 2 0 0 0 2>;
		};
	};

	ion {
		compatible = "samsung,exynos5430-ion";
	};

	decon_fb@14830000 {
		/* XEINT7, GPIO & pin control */
		gpios = <&gpd0 7 0xf>;
		psr_mode = <2>;		/* 0: video mode, 1: DP command mode, 2: MIPI command mode */
		disp-pll-clk = <142000000>;
		gpio_err = <&gpa3 7 0>;
		gpio_pcd = <&gpd2 4 0>;
		status = "okay";
	};

	dsim_0: dsim@14800000 {
		lcd_info = <&ea8064g>;
		decon_board = <&decon_board_list>;
		/* lcd reset, power */
		/* gpios = <&gpd1 3 0x1>, <&gpd1 1 0x1>; */
		/* lcd_vdd = "LCD_3P0"; */
		/* lcd_vdd_2 = "LCD_1P8"; */
		status = "okay";
	};

	decon_board_list: decon_board_list {
		dsim_set_panel_power_enable {
			type = "regulator,enable", "regulator,enable", "gpio,high", "delay,usleep", "pinctrl,turnon_tes";
			gpios = <&gpd1 1 0x1>;
			delay = <10000 11000>;
			regulator = "LCD_3P0", "LCD_1P8";
		};
		dsim_set_panel_power_disable {
			type = "gpio,low", "delay,usleep", "gpio,low", "delay,usleep", "pinctrl,turnoff_tes", "regulator,disable", "delay,usleep", "regulator,disable";
			gpios = <&gpd1 3 0x1>, <&gpd3 1 0x1>;
			delay = <10000 11000>, <5000 6000>, <5000 6000>;
			regulator = "LCD_1P8", "LCD_3P0";
		};
		dsim_reset_panel {
			type = "gpio,high", "delay,usleep", "gpio,low", "delay,usleep", "gpio,high", "delay,usleep";
			gpios = <&gpd1 3 0x1>, <&gpd1 3 0x1>, <&gpd1 3 0x1>;
			delay = <10000 11000>, <10000 11000>, <10000 11000>;
		};
	};

	ea8064g: ea8064g_fhd {
		mode = <2>;
		resolution = <1080 1920>;
		size = <63 112>;
		timing,refresh = <60>;
		timing,h-porch = <1 1 1>;
		timing,v-porch = <12 1 1>;
		timing,dsi-hs-clk = <1024>;
		timing,dsi-escape-clk = <16>;
		mic = <0>;
	};

	i2s0: i2s@11040000 {
		status = "okay";
	};

	audio_cp_dummy: cp_dummy {
		compatible = "samsung,cp_dummy";
		status = "okay";
	};

	audio_bt_dummy: bt_dummy {
		compatible = "samsung,bt_dummy";
		status = "okay";
	};

	audio_fm_dummy: fm_dummy {
		compatible = "samsung,fm_dummy";
		status = "okay";
	};

	audio_codec_dummy: dummy-codec {
		compatible = "samsung,dummy-codec";
		status = "okay";
	};

	sound {
		compatible = "samsung,universal7580-cod3022x";
		samsung,audio-cpu = <&i2s0	/* primary */
					&i2s0	/* secondary */
					&audio_cp_dummy
					&audio_bt_dummy
					&audio_fm_dummy
					&eax
					&eax>;
		samsung,audio-codec = <&audio_codec_cod3022x
					&audio_codec_cod3022x
					&audio_codec_cod3022x
					&audio_codec_dummy
					&audio_codec_cod3022x
					&audio_codec_cod3022x
					&audio_codec_cod3022x>;
		samsung,auxdev = <&s2801x>;
		gpios = <&gpf1 5 0x1>;
		clocks = <&clock 151>;		 /* sclk_i2s */
		clock-names = "codec_bclk";
		mic-bias-mode = <3 1 2>;
		mic-bias-gpios = <&gpd2 7 0x1>;
		pinctrl-names = "default";
		pinctrl-0 = <&main_mic_bias_en>;
		samsung,fm-uses-bt1;
		status = "okay";
	};

	usb_notifier {
		compatible = "samsung,usb-notifier";
	};

	i2c@13850000 {
		status = "okay";
		samsung,i2c-sda-delay = <100>;
		samsung,i2c-max-bus-freq = <300000>;
		ppsx60@58 {
			compatible = "ppsx60";
			pinctrl-names = "default";
			pinctrl-0 = <&hrm_vdd_en &hrm_int &hrm_rst>;
			reg = <0x58>;
			interrupt-parent = <&gpa1>;
			interrupts = <4 0 0>;
			ppsx60,hrm_int-gpio = <&gpa1 4 0>;
			ppsx60,hrm_rst-gpio = <&gpd2 5 0>;
			ppsx60,vdd_3p3_en = <&gpb2 7 0>;
		};
                sec-nfc@27 {
                        compatible = "sec-nfc";
                        reg = <0x27>;

                        interrupts = <2 0 0>;
                        interrupt-parent = <&gpa1>;
                        sec-nfc,nfc_pd = <&gpc3 2 0x2>;
                        sec-nfc,firm-gpio = <&gpe0 0 0>;
                        sec-nfc,irq-gpio = <&gpa1 2 0>;
			clkctrl-reg = <0x1046600C>;
                        sec-nfc,nfc_clkreq = <&gpc3 3 0x2>;
                        sec-nfc,nfc_clkint = <&gpa3 3 0xf>;
			sec-nfc,i2c_1p8 = "ldo39";
                        pinctrl-names = "default";
                        pinctrl-0 = <&nfc_n5_firm &nfc_n5_clk_req &nfc_pd &nfc_int &nfc_clk_int>;
                 };
	};

	serial_3: uart@11060000 {
		/* Enable AUD-UART for Bluetooth */
		pinctrl-0 = <&uart_bt_active &uart_bt_output_sleep &uart_bt_input_sleep>;
		status = "okay";
	};

	bluetooth {
		compatible = "broadcom,bcm43xx";
		gpios = <&gpc4 2 0x1	/*BT_EN*/
				&gpa2 2 0x1	/*BT_WAKE*/
				&gpa2 6 0xF	/*BT_HOST_WAKE*/ >;
		pinctrl-names = "default";
		pinctrl-0=<&bt_hostwake &bt_btwake &bt_en>;
		status = "okay";
	};

	hall {
		compatible = "hall";
		pinctrl-names = "default";
		pinctrl-0 = <&hall_irq>;
		hall,gpio_flip_cover = <&gpa3 6 0x0>;
		status = "okay";
	};

	w1_gpio_exynos {
		compatible = "w1_gpio_exynos";
		pinctrl-names = "default";
		pinctrl-0 = <&w1_gpio>;
		is_open_drain = <1>;
		slave_speed = <1>;
		register_addr = <0x139C0060>;
		register_num = <2>;
		w1,gpio = <&gpc1 2 0>;
	};

	input_booster {
		status = "okay";
		compatible = "input_booster";
		#address-cells = <1>;
		#size-cells = <0>;

		booster_key@1 {
			input_booster,label = "KEY";
			input_booster,type = <0>;	/* BOOSTER_DEVICE_KEY */

			input_booster,levels = <1>;

			/* Frequency table */
			/* for level	:	1_Head */
			input_booster,cpu_freqs = <1200000>;
			input_booster,hmp_boost = <0>;
			input_booster,kfc_freqs = <1200000>;
			input_booster,mif_freqs = <0>;
			input_booster,int_freqs = <0>;

			/* Time table */
			input_booster,head_times = <500>;
			input_booster,tail_times = <500>;
			input_booster,phase_times = <0>;
		};
		booster_key@2 {
			input_booster,label = "TOUCHKEY";
			input_booster,type = <1>;	/* BOOSTER_DEVICE_TOUCHKEY */

			input_booster,levels = <1>;

			/* Frequency table */
			/* for level	:	1_Head */
			input_booster,cpu_freqs = <1200000>;
			input_booster,hmp_boost = <0>;
			input_booster,kfc_freqs = <1200000>;
			input_booster,mif_freqs = <0>;
			input_booster,int_freqs = <0>;

			/* Time table */
			input_booster,head_times = <0>;
			input_booster,tail_times = <200>;
			input_booster,phase_times = <0>;
		};
		booster_key@3 {
			input_booster,label = "TOUCH";
			input_booster,type = <2>;	/* BOOSTER_DEVICE_TOUCH */

			input_booster,levels = <1 2 3>;

			/* Frequency table */
			/* for level	:	1_Head, 2_Head, 2_Tail */
			input_booster,cpu_freqs = <1200000 1200000 1000000>;
			input_booster,hmp_boost = <0 0 0>;
			input_booster,kfc_freqs = <1200000 1200000 1000000>;
			input_booster,mif_freqs = <0 0 0>;
			input_booster,int_freqs = <0 0 0>;

			/* Time table */
			input_booster,head_times = <200 200 0>;
			input_booster,tail_times = <300 300 0>;
			input_booster,phase_times = <0 0 0>;
		};
		booster_key@4 { // Input Booster +
			input_booster,label = "MULTITOUCH";
			input_booster,type = <3>;	/* BOOSTER_DEVICE_MULTITOUCH */

			input_booster,levels = <1 2>;

			/* Frequency table */
			/* for level	:	1_Head 2_Tail*/
			input_booster,cpu_freqs = <1400000 1000000>;
			input_booster,hmp_boost = <0 0>;
			input_booster,kfc_freqs = <1400000 1000000>;
			input_booster,mif_freqs = <0 0>;
			input_booster,int_freqs = <0 0>;

			/* Time table */
			input_booster,head_times = <1000 1000>;
			input_booster,tail_times = <500 500>;
			input_booster,phase_times = <0 0>;
		};
		booster_key@5 {
			input_booster,label = "KEYBOARD";
			input_booster,type = <4>;	/* BOOSTER_DEVICE_KEYBOARD */

			input_booster,levels = <1 2>;

			/* Frequency table */
			/* for level	:	1_Head 2_Tail*/
			input_booster,cpu_freqs = <1200000 1200000>;
			input_booster,hmp_boost = <0 0>;
			input_booster,kfc_freqs = <1200000 1200000>;
			input_booster,mif_freqs = <0 0>;
			input_booster,int_freqs = <0 0>;

			/* Time table */
			input_booster,head_times = <130 130>;
			input_booster,tail_times = <0 0>;
			input_booster,phase_times = <0 0>;
		};
		booster_key@6 {
			input_booster,label = "MOUSE";
			input_booster,type = <5>;	/* BOOSTER_DEVICE_MOUSE */

			input_booster,levels = <1 2>;

			/* Frequency table */
			/* for level	:	1_Head 2_Tail*/
			input_booster,cpu_freqs = <1200000 1000000>;
			input_booster,hmp_boost = <0 0>;
			input_booster,kfc_freqs = <1200000 1000000>;
			input_booster,mif_freqs = <0 0>;
			input_booster,int_freqs = <0 0>;

			/* Time table */
			input_booster,head_times = <130 130>;
			input_booster,tail_times = <500 500>;
			input_booster,phase_times = <0 0>;
		};
		booster_key@7 {
			input_booster,label = "MOUSE WHEEL";
			input_booster,type = <6>;	/* BOOSTER_DEVICE_MOUSE */

			input_booster,levels = <1 2>;

			/* Frequency table */
			/* for level	:	1_Head 2_Tail*/
			input_booster,cpu_freqs = <1200000 0>;
			input_booster,hmp_boost = <0 0>;
			input_booster,kfc_freqs = <1200000 0>;
			input_booster,mif_freqs = <0 0>;
			input_booster,int_freqs = <0 0>;

			/* Time table */
			input_booster,head_times = <130 0>;
			input_booster,tail_times = <0 0>;
			input_booster,phase_times = <0 0>;
		};
		booster_key@8 {
			input_booster,label = "PEN & HOVER";
			input_booster,type = <7>;	/* BOOSTER_DEVICE_PEN & HOVER */

			input_booster,levels = <1 2>;

			/* Frequency table */
			/* for level	:	1_Head 2_Tail*/
			input_booster,cpu_freqs = <1200000 1000000>;
			input_booster,hmp_boost = <0 0>;
			input_booster,kfc_freqs = <1200000 1000000>;
			input_booster,mif_freqs = <0 0>;
			input_booster,int_freqs = <0 0>;

			/* Time table */
			input_booster,head_times = <130 130>;
			input_booster,tail_times = <500 500>;
			input_booster,phase_times = <0 0>;
		};
		booster_key@9 {
			input_booster,label = "GAMEPAD";
			input_booster,type = <8>;	/* BOOSTER_DEVICE_GAMEPAD */

			input_booster,levels = <1 2>;

			/* Frequency table */
			/* for level	:	1_Head 2_Tail*/
			input_booster,cpu_freqs = <1400000 1000000>;
			input_booster,hmp_boost = <0 0>;
			input_booster,kfc_freqs = <1400000 1000000>;
			input_booster,mif_freqs = <0 0>;
			input_booster,int_freqs = <0 0>;

			/* Time table */
			input_booster,head_times = <130 130>;
			input_booster,tail_times = <500 500>;
			input_booster,phase_times = <0 0>;
		}; // Input Booster -
		/* If you need to add new key type, add it this position */
	};

	pinctrl@14CC0000 {
		uart0_rts: uart0-rts {
			samsung,pins = "gpb0-7";
			samsung,pin-function = <2>;
			samsung,pin-pud = <0>;
			samsung,pin-con-pdn = <1>;
			samsung,pin-pud-pdn = <0>;
		};

		uart0_cts: uart0-cts {
			samsung,pins = "gpb0-6";
			samsung,pin-function = <2>;
			samsung,pin-pud = <0>;
			samsung,pin-con-pdn = <2>;
			samsung,pin-pud-pdn = <1>;
		};

		uart0_tx: uart0-tx {
			samsung,pins = "gpb0-5";
			samsung,pin-function = <2>;
			samsung,pin-pud = <0>;
			samsung,pin-con-pdn = <2>;
			samsung,pin-pud-pdn = <3>;
		};

		uart0_rx: uart0-rx {
			samsung,pins = "gpb0-4";
			samsung,pin-function = <2>;
			samsung,pin-pud = <3>;
			samsung,pin-con-pdn = <2>;
			samsung,pin-pud-pdn = <3>;
		};
	};

	serial@14C10000 {
		pinctrl-0 = <&uart0_rts &uart0_cts &uart0_tx &uart0_rx>;
	};

	gps {
		compatible = "samsung,exynos-bcm4752";
		gpios = <&gpd2 6 0x1>;
		status = "okay";
	};

	argos {
		compatible = "samsung,argos";
		#address-cells = <1>;
		/*  The device number should be assigned for each device, e.g. "boot_device@1" and "boot_device@2".
		    Duplicated number is not allowed. Please refer the below example. */

		/* Table Format should be
		 * <Throughput(Mbps) ARM_min ARM_max KFC_min KFC_max MIF INT Task IRQ>
		 * ARM_min : Big Core's minimum frequency lock. 0 means not set,
		 * ARM_max : Big Core's maximum frequency lock. 0 means not set,
		 * KFC_min : Little Core's minimum frequency lock. 0 means not set,
		 * KFC_max : Little Core's maximum frequency lock. 0 means not set,
		 * MIF : MIF frequency lock. 0 means not set,
		 * INT : INT frequency lock. 0 means not set,
		 * Task : 1 - Set task affinity lock.
		 *        0 - Not set or unlock,
		 *              Task affinity should be predefined driver's code.
		 * IRQ : 1 - Set irq affinity lock.
		 *       0 - Not set or unlock,
		 *              Task affinity should be predefined driver's code.
		 */
		boot_device@1 {
			net_boost,label="IPC";
			net_boost,node="rmnet0 rmnet1 rmnet2 rmnet3 rmnet4 rmnet5 rmnet6 rmnet7 umts_dm0";
			net_boost,table_size = <4>;
			net_boost,table= <  1 0 0 0 0 0 0 0 1
					   20 0 0 800000 0 416000 100000 0 1
					   50 0 0 1000000 0 825000 100000 0 1
					  100 0 0 1400000 0 825000 100000 0 1>;
		};
		 boot_device@2 {
			net_boost,label="P2P";
			net_boost,node="p2p-wlan0-0";
			net_boost,table_size = <3>;
			net_boost,table= <
				30 1200000 0 1200000 0 200000 0 0 0
				50 1500000 0 1500000 0 416000 100000 0 0
				90 1600000 0 1600000 0 825000 100000 1 1
				>;
		};
		boot_device@3 {
			net_boost,label="WIFI";
			net_boost,node="wlan0";
			net_boost,table_size = <3>;
			net_boost,table= <
				10 1000000 0 1000000 0 200000 0 0 0
				60 1600000 0 1600000 0 825000 100000 1 1
				120 1600000 0 1600000 0 825000 100000 1 1
				>;
		 };
		/* Example
		   boot_device@2 {
		   net_boost,label="EMMC";
		   net_boost,node="";
		   net_boost,sysnode="/sys/class/mmc_host/mmc0/trans_count";
		   net_boost,table_size = <1>;
		   net_boost,table= <64 0 0 1300000 0 825000 400000 0 0>;
		   };
		   boot_device@3 {
		   net_boost,label="WIFI";
		   net_boost,node="wlan0";
		   net_boost,table_size = <3>;
		   net_boost,table= <60 1000000 0 800000 0 0 200000 0 0
		   100 1200000 0 1000000 0 0 200000 0 0
		   180 1700000 0 1100000 0 543000 267000 0 0>;
		   };
		   boot_device@4 {
		   net_boost,label="P2P";
		   net_boost,node="p2p-wlan0-0";
		   net_boost,table_size = <3>;
		   net_boost,table= <30 1000000 0 800000 0 0 200000 0 0
		   50 1200000 0 1000000 0 0 200000 0 0
		   90 1700000 0 1100000 0 543000 267000 0 0>;
		   };
		   boot_device@5 {
		   net_boost,label="CLAT";
		   net_boost,node="clat clat4";
		   net_boost,table_size = <3>;
		   net_boost,table= <120 1400000 0 0 0 825000 0 0 0
		   130 1500000 0 0 0 825000 0 0 0
		   150 1600000 0 0 0 825000 0 0 0>;
		   };
		 */
	};

	mif_pdata {
		pinctrl-names = "default";
		pinctrl-0 = <&cp_rst_n &ds_det>;

		/* To do: will be remove, for system revision */
		gpios = <&gpd0 0 0x0>,
		       <&gpd0 1 0x0>,
		       <&gpd0 2 0x0>,
		       <&gpd0 3 0x0>;

		modem_ctrl,gpio_cp_rst_n = <&gpe0 6 0x1>;
		mif,gpio_ds_det = <&gpd0 4 0x0>;

		mif,ap_clk_table = <
			/* khz */
			1600000
			1500000
			1400000
			1300000
			1200000
			1100000
			1000000
			900000
			800000
			700000
			600000
			500000
			400000
			300000
			>;

		mif,mif_clk_table = <
			/* khz */
			825000
			728000
			667000
			559000
			416000
			338000
			273000
			200000
			>;
	};

	pinctrl@139C0000 {
		ds_det: ds_det {
			samsung,pins = "gpd0-4";
			samsung,pin-function = <0>;	/* INPUT */
			samsung,pin-pud = <0>;
			samsung,pin-con-pdn = <3>;	/* PREV STATE */
			samsung,pin-pud-pdn = <0>;
		};

		cp_rst_n: cp_rst_n {
			samsung,pins = "gpe0-6";
			samsung,pin-function = <1>;	/* OUTPUT */
			samsung,pin-pud = <0>;		/* PU & PD DISABLE */
			samsung,pin-con-pdn = <1>;	/* OUTPUT 1 */
			samsung,pin-pud-pdn = <0>;	/* PU & PD DISABLE */
		};

		leden_gpio: leden_gpio {
			samsung,pins = "gpd1-6";
			samsung,pin-function = <1>;
			samsung,pin-pud = <0>;
			samsung,pin-val = <0>;
		};
	};

	sec_thermistor@0 {
		compatible = "samsung,sec-ap-thermistor";
		status = "okay";

		adc_array = <289 301 313 324 336 348 360 372 383 395
				407 423 438 454 470 486 501 517 533 548
				564 586 607 629 651 673 694 716 738 759
				781 805 828 852 875 899 930 961 992 1023
				1054 1087 1120 1154 1187 1220 1255 1289 1324 1358
				1393 1433 1472 1512 1551 1591 1631 1670 1710 1749
				1789 1832 1875 1918 1961 2004 2047 2090 2133 2176
				2219 2264 2309 2355 2400 2445 2490 2535 2581 2626
				2671 2708 2745 2782 2819 2856 2892 2929 2966 3003
				3040 3070 3100 3130 3160 3190 3216 3242 3267 3293
				3319 3341 3363 3384 3406 3428 3446 3463 3481 3498 3516>;
		temp_array = <900 890 880 870 860 850 840 830 820 810
					   800 790 780 770 760 750 740 730 720 710
					   700 690 680 670 660 650 640 630 620 610
					   600 590 580 570 560 550 540 530 520 510
					   500 490 480 470 460 450 440 430 420 410
					   400 390 380 370 360 350 340 330 320 310
					   300 290 280 270 260 250 240 230 220 210
					   200 190 180 170 160 150 140 130 120 110
					   100 90 80 70 60 50 40 30 20 10
					   0 (-10) (-20) (-30) (-40) (-50) (-60) (-70) (-80) (-90)
					   (-100) (-110) (-120) (-130) (-140) (-150) (-160) (-170) (-180) (-190) (-200)>;
		io-channels = <&exynos_adc 0>;
		io-channel-names = "adc-ap-temp";
		io-channel-ranges;
	};
};


&pinctrl_0 {
	pinctrl-names = "default";
	pinctrl-0 = <&initial0>;
	initial0: initial-state {
		gpa1-0 {
			samsung,pins = "gpa1-0"; /* SSP_AP_INT */
			samsung,pin-function = <1>;
			samsung,pin-pud = <3>;
			samsung,pin-drv = <3>;
			samsung,pin-val = <1>;
		};
		gpa1-5 {
			samsung,pins = "gpa1-5"; /* SSP_MCU_INT1 */
			samsung,pin-function = <0>;
			samsung,pin-pud = <0>;
			samsung,pin-drv = <0>;
		};
		gpa1-6 {
			samsung,pins = "gpa1-6"; /* SSP_MCU_INT2 */
			samsung,pin-function = <0>;
			samsung,pin-pud = <0>;
			samsung,pin-drv = <0>;
		};
	};
};

&pinctrl_6 {
	pinctrl-names = "default","sleep";
	pinctrl-0 = <&initial6>;
	pinctrl-1 = <&sleep6>;
	initial6: initial-state {
		gpf1-4 {
			samsung,pins = "gpf1-4"; /* SSP_RST */
			samsung,pin-function = <1>;
			samsung,pin-pud = <3>;
			samsung,pin-drv = <3>;
			samsung,pin-val = <1>;
		};
	};
	sleep6: sleep-state {
		gpf1-4 {
			samsung,pins = "gpf1-4"; /* SSP_RST */
			samsung,pin-con-pdn = <3>;
			samsung,pin-pud-pdn = <0>;
		};
	};
};

